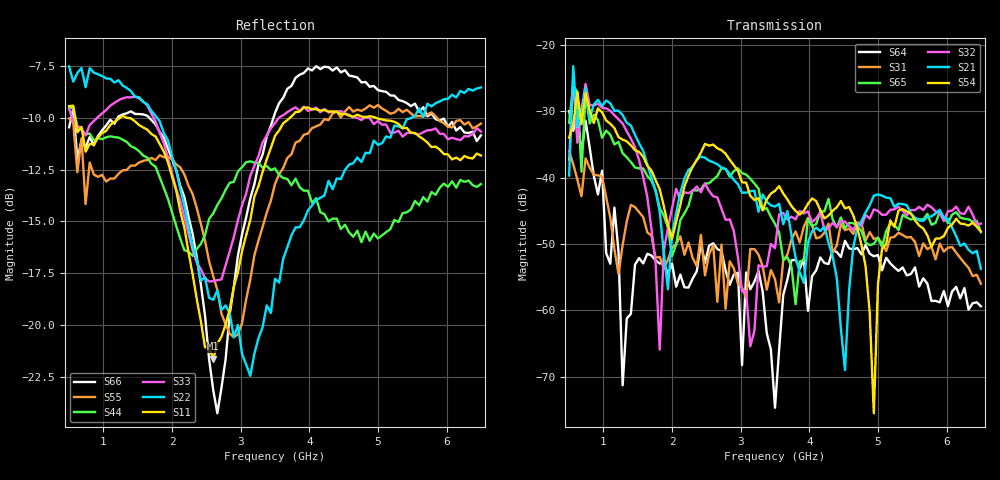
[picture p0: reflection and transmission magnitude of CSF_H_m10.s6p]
!Keysight Technologies,M9804A,MY58100912,A.14.10.03
!Date: Thursday, April 27, 2023 10:28:33
!Correction: S11(C  6-Port  )
!S12(C  6-Port  )
!S13(C  6-Port  )
!S14(C  6-Port  )
!S15(C  6-Port  )
!S16(C  6-Port  )
!S21(C  6-Port  )
!S22(C  6-Port  )
!S23(C  6-Port  )
!S24(C  6-Port  )
!S25(C  6-Port  )
!S26(C  6-Port  )
!S31(C  6-Port  )
!S32(C  6-Port  )
!S33(C  6-Port  )
!S34(C  6-Port  )
!S35(C  6-Port  )
!S36(C  6-Port  )
!S41(C  6-Port  )
!S42(C  6-Port  )
!S43(C  6-Port  )
!S44(C  6-Port  )
!S45(C  6-Port  )
!S46(C  6-Port  )
!S51(C  6-Port  )
!S52(C  6-Port  )
!S53(C  6-Port  )
!S54(C  6-Port  )
!S55(C  6-Port  )
!S56(C  6-Port  )
!S61(C  6-Port  )
!S62(C  6-Port  )
!S63(C  6-Port  )
!S64(C  6-Port  )
!S65(C  6-Port  )
!S66(C  6-Port  )
!S6P File: Measurement: :
# Hz S  RI  R 50
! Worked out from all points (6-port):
!   101 points, 500 MHz to 6.5 GHz, reference 50 ohm
!   strongest paths, dB at 500 MHz, 2 GHz, 3.5 GHz, 5 GHz, 6.5 GHz:
!     S54: -33.9, -49.2, -42.0, -56.1, -48.1
!     S21: -39.7, -48.5, -44.3, -42.5, -53.7
!     S32: -37.4, -44.6, -50.6, -45.0, -46.9
!     S65: -31.7, -51.8, -46.9, -49.0, -48.2
!     S31: -36.0, -50.5, -55.3, -49.0, -56.0
!     S64: -30.0, -53.0, -74.7, -51.6, -59.4
!   lowest |S11| = -21.6 dB at 2.6 GHz (marker M1), VSWR 1.18, Z = 42.6 + j2.05 ohm
!   |S11| at or under -10 dB: 587.7 MHz to 1.239 GHz (651.1 MHz wide, 71.3 % of centre); 1.363 GHz to 3.714 GHz (2.352 GHz wide, 92.6 % of centre); 4.975 GHz to end of sweep
